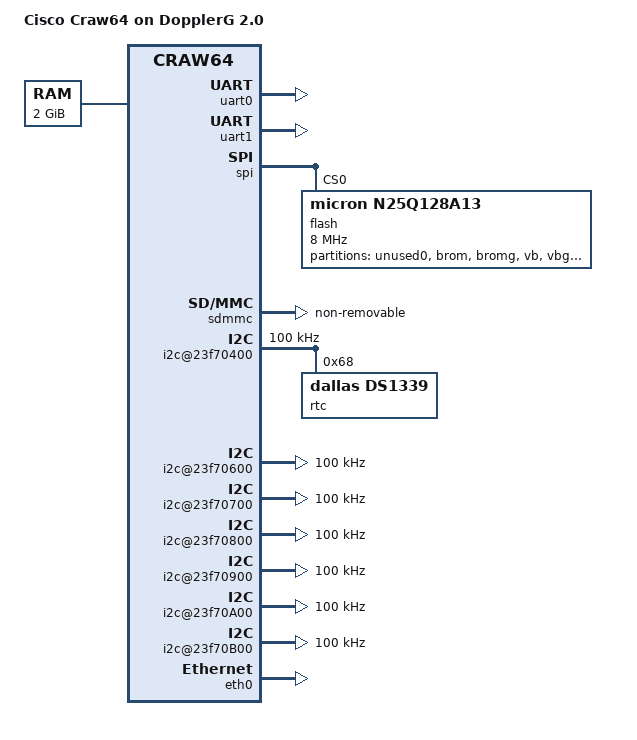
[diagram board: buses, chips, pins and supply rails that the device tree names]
/dts-v1/;

#include "craw64.dtsi"

/ {
	model = "Cisco Craw64 on DopplerG 2.0";
	compatible = "cisco,craw64-dopplerg2", "cisco,craw64";

	memory {
		device_type = "memory";
		reg = <0x0 0x80000000 0x0 0x80000000>;
	};

	soc: soc {
		uart0: serial@23f80000 {
			clock-frequency = <250000000>;
			status = "ok";
		};

		uart1: serial@23fc0000 {
			clock-frequency = <250000000>;
			status = "ok";
		};

		spiclk: spiclk {
			clock-frequency = <250000000>;
		};

		spi: spi@24000000 {
			status="ok";
			flash: flash@0 {
				compatible = "micron,n25q128a13", "jedec,spi-nor";
				#address-cells = <1>;
				#size-cells = <1>;
				spi-max-frequency = <8000000>;
				reg = <0>;
				partition@0 {
					label = "unused0";
					reg = <0x0 0x10000>;
					read-only;
				};
				partition@1 {
					label = "brom";
					reg = <0x10000 0x10000>;
				};
				partition@2 {
					label = "bromg";
					reg = <0x20000 0x10000>;
					read-only;
				};
				partition@3 {
					label = "vb";
					reg = <0x30000 0x10000>;
				};
				partition@4 {
					label = "vbg";
					reg = <0x40000 0x10000>;
				};
				partition@5 {
					label = "rsvd";
					reg = <0x50000 0x10000>;
				};
				partition@6 {
					label = "keys";
					reg = <0x60000 0x10000>;
				};
				partition@7 {
					label = "ddrinit";
					reg = <0x70000 0x20000>;
				};
				partition@8 {
					label = "bs";
					reg = <0x90000 0x1E0000>;
				};
				partition@9 {
					label = "ddrinitg";
					reg = <0x270000 0x20000>;
					read-only;
				};
				partition@10 {
					label = "bsg";
					reg = <0x290000 0x1E0000>;
					read-only;
				};
				partition@11 {
					label = "rsvd1";
					reg = <0x470000 0xB90000>;
				};
			};
		};

		sdmmc: sdmmc@28100000 {
			clock-frequency = <50000000>;
			max-frequency = <25000000>;
			status = "ok";
			cap-mmc-highspeed;
			non-removable;
			no-sdio;
			no-sd;
		};

		ciu: ciu {
			clock-frequency = <50000000>;
		};

		biu: biu {
			clock-frequency = <5000000>;
		};

		i2c@23f70400 {
			clock-frequency = <100000>;
			i2c-sda-hold-time-ns = <108800>;
			i2c-ss-hcnt = /bits/ 16 <1250>;
			i2c-ss-lcnt = /bits/ 16 <1250>;
			cntrl-reg = <&doppler_i2c>;
			status = "ok";

			rtc: ds1339@68 {
				compatible = "dallas,ds1339";
				reg = <0x68>;
				interrupts = <GIC_SPI 123 IRQ_TYPE_LEVEL_HIGH>;
			};
		};

		i2c@23f70500 {
			clock-frequency = <100000>;
			i2c-sda-hold-time-ns = <108800>;
			i2c-ss-hcnt = /bits/ 16 <1250>;
			i2c-ss-lcnt = /bits/ 16 <1250>;
			cntrl-reg = <&doppler_i2c>;
			status = "disabled";
		};

		i2c@23f70600 {
			clock-frequency = <100000>;
			i2c-sda-hold-time-ns = <108800>;
			i2c-ss-hcnt = /bits/ 16 <1250>;
			i2c-ss-lcnt = /bits/ 16 <1250>;
			cntrl-reg = <&doppler_i2c>;
			status = "ok";
		};

		i2c@23f70700 {
			clock-frequency = <100000>;
			i2c-sda-hold-time-ns = <108800>;
			i2c-ss-hcnt = /bits/ 16 <1250>;
			i2c-ss-lcnt = /bits/ 16 <1250>;
			cntrl-reg = <&doppler_i2c>;
			status = "ok";
		};

		i2c@23f70800 {
			clock-frequency = <100000>;
			i2c-sda-hold-time-ns = <108800>;
			i2c-ss-hcnt = /bits/ 16 <1250>;
			i2c-ss-lcnt = /bits/ 16 <1250>;
			cntrl-reg = <&doppler_i2c>;
			status = "ok";
		};

		i2c@23f70900 {
			clock-frequency = <100000>;
			i2c-sda-hold-time-ns = <108800>;
			i2c-ss-hcnt = /bits/ 16 <1250>;
			i2c-ss-lcnt = /bits/ 16 <1250>;
			cntrl-reg = <&doppler_i2c>;
			status = "ok";
		};

		i2c@23f70A00 {
			clock-frequency = <100000>;
			i2c-sda-hold-time-ns = <108800>;
			i2c-ss-hcnt = /bits/ 16 <1250>;
			i2c-ss-lcnt = /bits/ 16 <1250>;
			cntrl-reg = <&doppler_i2c>;
			status = "ok";
		};

		i2c@23f70B00 {
			clock-frequency = <100000>;
			i2c-sda-hold-time-ns = <108800>;
			i2c-ss-hcnt = /bits/ 16 <1250>;
			i2c-ss-lcnt = /bits/ 16 <1250>;
			cntrl-reg = <&doppler_i2c>;
			status = "ok";
		};

		stmmaceth: stmmaceth {
			clock-frequency = <250000000>;
		};

		eth0: dwmac@282c0000 {
			status = "ok";
			mdio-channel = <0>;
		};

		wd@28500200 {
			compatible = "cisco,craw-smgmt-wdt";
			reg = <0x28500200 0x140>;
		};

		doppler_i2c: bsp_i2c {
			compatible = "cisco,dplr-i2c";
			reg = <0x23f71000 0x10>;
		};
	};

	doppler {
		intrpt {
			compatible = "cisco,dplr_intrpt";
			reg = <0x0 0x20000000 0x0 0x0FFFFFFF>;
			interrupts = <GIC_SPI 0 IRQ_TYPE_LEVEL_HIGH>,
				<GIC_SPI 4 IRQ_TYPE_LEVEL_HIGH>,
				<GIC_SPI 8 IRQ_TYPE_LEVEL_HIGH>,
				<GIC_SPI 15 IRQ_TYPE_LEVEL_HIGH>,
				<GIC_SPI 29 IRQ_TYPE_LEVEL_HIGH>,
				<GIC_SPI 44 IRQ_TYPE_LEVEL_HIGH>,
				<GIC_SPI 46 IRQ_TYPE_LEVEL_HIGH>;
			interrupt-names = "dpu", "oob", "packet", "offload",
				"tla0", "tla1", "misc";
		};

		mmap {
			compatible = "cisco,dplr_dma_mmap";
			reg =	<0x0 0x20000000 0x0 0x10000000>,
				<0x0 0x1fe00000 0x0 0x00040000>,
				<0x0 0x28500000 0x0 0x00040000>,
				<0x0 0x0e000000 0x0 0x0>,
				<0x0 0x03f71208 0x0 0x0>;
			reg-names = "base", "local_sram", "bsp_sram",
				"sup_id_off", "bsp_exp0_off";
		};

		gpio {
			compatible = "cisco,dplr_gpio";
			reg = <0x0 0x23f700e0 0x0 0x120>;
		};
	};
};
